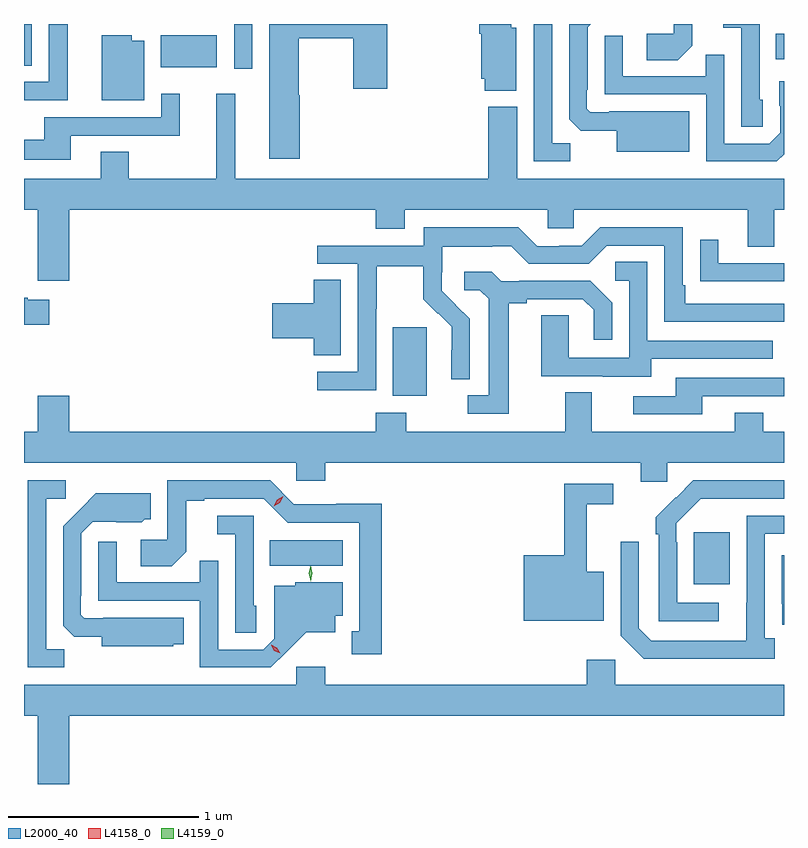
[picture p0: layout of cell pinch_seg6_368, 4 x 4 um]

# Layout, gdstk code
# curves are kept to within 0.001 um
import gdstk
lib = gdstk.Library(unit=1e-6, precision=1e-09)
def R(c, l, rs):  # rectangles x0, y0, x1, y1
    for r in rs: c.add(gdstk.rectangle(r[:2], r[2:], *l))
def P(c, l, *ps):  # polygons
    for p in ps: c.add(gdstk.Polygon(p, *l))
L2000_40 = (2000, 40)
L4158_0 = (4158, 0)
L4159_0 = (4159, 0)

pinch_seg6_368 = lib.new_cell('pinch_seg6_368')
R(pinch_seg6_368, L2000_40, [(635.993,936.041,636.181,936.316), (633.76,936.14,634.144,936.274), (634.409,937.034,634.588,937.395), (633.573,938.754,633.669,938.99), (633.188,938.762,633.481,938.932), (632.467,938.77,632.509,938.99), (636.424,938.804,636.467,938.938)])
P(pinch_seg6_368, L2000_40, [(635.985,938.876),(635.985,938.99),(635.886,938.99),(635.886,938.94),(635.745,938.94),(635.745,938.8),(635.909,938.8)],
  [(636.354,938.592),(636.339,938.592),(636.339,938.99),(636.147,938.99),(636.147,938.969),(636.243,938.969),(636.243,938.449),(636.354,938.449)],
  [(635.968,938.53),(635.548,938.53),(635.548,938.526),(635.448,938.526),(635.43,938.544),(635.43,938.644),(635.433,938.644),(635.433,938.973),(635.45,938.99),(635.337,938.99),(635.337,938.488),(635.396,938.429),(635.588,938.429),(635.588,938.318),(635.968,938.318)],
  [(635.343,938.363),(635.247,938.363),(635.247,938.99),(635.151,938.99),(635.151,938.268),(635.343,938.268)],
  [(632.696,938.99),(632.598,938.99),(632.598,938.685),(632.467,938.685),(632.467,938.589),(632.696,938.589)],
  [(635.059,938.97),(635.032,938.97),(635.032,938.99),(634.862,938.99),(634.862,938.939),(634.874,938.939),(634.874,938.703),(634.892,938.703),(634.892,938.639),(635.059,938.639)],
  [(633.917,938.615),(633.912,938.615),(633.912,938.914),(634.201,938.914),(634.201,938.649),(634.379,938.649),(634.379,938.99),(633.758,938.99),(633.758,938.28),(633.917,938.28)],
  [(633.1,938.902),(633.034,938.902),(633.034,938.932),(632.876,938.932),(632.876,938.588),(633.1,938.588)],
  [(636.467,938.305),(636.467,938.689),(636.443,938.689),(636.443,938.56),(636.447,938.56),(636.447,938.418),(636.39,938.361),(636.153,938.361),(636.153,938.828),(636.055,938.828),(636.055,938.715),(635.619,938.715),(635.619,938.929),(635.523,938.929),(635.523,938.619),(636.057,938.619),(636.057,938.268),(636.43,938.268)],
  [(632.713,938.403),(633.287,938.403),(633.287,938.623),(633.189,938.623),(633.189,938.499),(632.573,938.499),(632.573,938.38),(632.467,938.38),(632.467,938.276),(632.713,938.276)],
  [(632.704,938.012),(634.319,938.012),(634.319,937.913),(634.471,937.913),(634.471,938.012),(635.223,938.012),(635.223,937.914),(635.361,937.914),(635.361,938.012),(636.275,938.012),(636.275,937.818),(636.415,937.818),(636.415,938.012),(636.467,938.012),(636.467,938.176),(635.062,938.176),(635.062,938.554),(634.91,938.554),(634.91,938.176),(633.578,938.176),(633.578,938.623),(633.479,938.623),(633.479,938.176),(633.018,938.176),(633.018,938.318),(632.87,938.318),(632.87,938.176),(632.467,938.176),(632.467,938.012),(632.54,938.012),(632.54,937.638),(632.704,937.638)],
  [(634.32,937.492),(634.323,937.492),(634.323,937.716),(634.567,937.716),(634.567,937.541),(634.644,937.464),(634.647,937.467),(634.718,937.397),(634.718,937.274),(634.716,937.274),(634.716,937.12),(634.812,937.12),(634.812,937.438),(634.666,937.586),(634.666,937.683),(634.668,937.683),(634.668,937.817),(634.931,937.817),(634.931,937.821),(635.031,937.821),(635.124,937.728),(635.439,937.728),(635.535,937.824),(635.838,937.824),(635.838,937.422),(636.467,937.422),(636.467,937.518),(635.947,937.518),(635.947,937.615),(635.934,937.615),(635.934,937.92),(635.499,937.92),(635.403,937.824),(635.285,937.824),(635.285,937.821),(635.169,937.821),(635.069,937.921),(634.572,937.921),(634.572,937.824),(634.011,937.824),(634.011,937.728),(634.224,937.728),(634.224,937.161),(634.011,937.161),(634.011,937.063),(634.32,937.063)],
  [(636.467,937.731),(636.121,937.731),(636.121,937.855),(636.025,937.855),(636.025,937.636),(636.127,937.636),(636.127,937.635),(636.467,937.635)],
  [(635.767,937.227),(636.407,937.227),(636.407,937.323),(635.748,937.323),(635.748,937.739),(635.58,937.739),(635.58,937.638),(635.652,937.638),(635.652,937.233),(635.334,937.233),(635.334,937.457),(635.189,937.457),(635.189,937.137),(635.513,937.137),(635.513,937.133),(635.767,937.133)],
  [(635.017,937.52),(635.113,937.52),(635.113,937.542),(635.408,937.542),(635.465,937.485),(635.465,937.329),(635.562,937.329),(635.562,937.522),(635.446,937.638),(635.074,937.638),(635.074,937.635),(634.98,937.635),(634.928,937.687),(634.785,937.687),(634.785,937.59),(634.866,937.59),(634.913,937.543),(634.913,937.035),(634.803,937.035),(634.803,936.939),(635.017,936.939)],
  [(634.135,937.643),(633.992,937.643),(633.992,937.52),(633.774,937.52),(633.774,937.337),(633.992,937.337),(633.992,937.246),(634.135,937.246)],
  [(632.599,937.54),(632.486,937.54),(632.486,937.548),(632.467,937.548),(632.467,937.406),(632.599,937.406)],
  [(636.037,937.032),(636.467,937.032),(636.467,937.128),(635.897,937.128),(635.897,937.032),(635.673,937.032),(635.673,936.936),(636.037,936.936)],
  [(635.853,936.68),(636.467,936.68),(636.467,936.844),(636.357,936.844),(636.357,936.943),(636.209,936.943),(636.209,936.844),(635.455,936.844),(635.455,937.052),(635.315,937.052),(635.315,936.844),(634.479,936.844),(634.479,936.943),(634.319,936.943),(634.319,936.844),(632.704,936.844),(632.704,937.033),(632.54,937.033),(632.54,936.844),(632.467,936.844),(632.467,936.68),(633.9,936.68),(633.9,936.587),(634.052,936.587),(634.052,936.68),(635.714,936.68),(635.714,936.582),(635.853,936.582)],
  [(634.351,936.464),(634.11,936.464),(634.11,936.462),(633.888,936.462),(633.762,936.588),(633.222,936.588),(633.222,936.276),(633.081,936.276),(633.081,936.136),(633.245,936.136),(633.321,936.212),(633.321,936.48),(633.415,936.48),(633.415,936.492),(633.729,936.492),(633.855,936.366),(634.232,936.366),(634.232,935.793),(634.193,935.793),(634.193,935.673),(634.351,935.673)],
  [(632.679,935.699),(632.583,935.699),(632.583,936.492),(632.686,936.492),(632.686,936.588),(632.487,936.588),(632.487,935.604),(632.679,935.604)],
  [(636.124,935.943),(635.904,935.943),(635.904,936.263),(635.901,936.263),(635.901,936.363),(636.03,936.492),(636.467,936.492),(636.467,936.588),(635.99,936.588),(635.793,936.393),(635.793,936.305),(635.808,936.305),(635.808,935.847),(636.124,935.847)],
  [(635.518,936.106),(635.429,936.106),(635.429,936.462),(635.569,936.462),(635.569,936.57),(635.311,936.57),(635.311,936.193),(635.096,936.193),(635.096,935.849),(635.518,935.849)],
  [(633.252,935.726),(633.308,935.726),(633.308,935.866),(632.884,935.866),(632.884,935.862),(632.784,935.862),(632.766,935.88),(632.766,935.98),(632.769,935.98),(632.769,936.309),(632.829,936.369),(633.086,936.368),(633.102,936.384),(633.133,936.384),(633.133,936.52),(632.845,936.52),(632.673,936.346),(632.673,935.824),(632.732,935.765),(632.876,935.765),(632.876,935.714),(633.252,935.714)],
  [(633.69,935.928),(633.675,935.928),(633.675,936.402),(633.483,936.402),(633.483,936.305),(633.579,936.305),(633.579,935.785),(633.69,935.785)],
  [(636.418,935.758),(636.366,935.758),(636.366,936.306),(636.467,936.306),(636.467,936.402),(636.27,936.402),(636.269,935.745),(635.769,935.745),(635.703,935.811),(635.703,936.265),(635.607,936.265),(635.607,935.769),(635.728,935.648),(636.418,935.648)],
  [(633.85,935.687),(633.953,935.789),(634.105,935.789),(634.105,935.876),(634.144,935.876),(634.144,936.052),(633.894,936.052),(633.894,936.034),(633.783,936.034),(633.783,935.754),(633.726,935.697),(633.489,935.697),(633.489,936.164),(633.391,936.164),(633.391,936.051),(632.955,936.051),(632.955,936.265),(632.859,936.265),(632.859,935.955),(633.393,935.955),(633.393,935.604),(633.766,935.604)],
  [(636.467,936.193),(636.456,936.193),(636.456,935.938),(636.457,935.938),(636.457,935.829),(636.467,935.829)],
  [(632.704,935.348),(636.467,935.348),(636.467,935.512),(635.58,935.512),(635.58,935.644),(635.429,935.644),(635.429,935.512),(634.052,935.512),(634.052,935.608),(633.9,935.608),(633.9,935.512),(632.467,935.512),(632.467,935.348),(632.54,935.348),(632.54,934.99),(632.704,934.99)])
P(pinch_seg6_368, L4158_0, [(633.782,936.453),(633.782,936.453),(633.799,936.485),(633.831,936.504),(633.831,936.504),(633.831,936.504),(633.814,936.471),(633.782,936.453)],
  [(633.816,935.677),(633.785,935.692),(633.767,935.721),(633.767,935.722),(633.767,935.722),(633.798,935.707),(633.816,935.678),(633.816,935.677)])
P(pinch_seg6_368, L4159_0, [(633.975,936.058),(633.966,936.098),(633.975,936.138),(633.975,936.138),(633.976,936.138),(633.985,936.098),(633.976,936.058),(633.976,936.058)])

lib.write_gds('pinch_seg6_368.gds')
